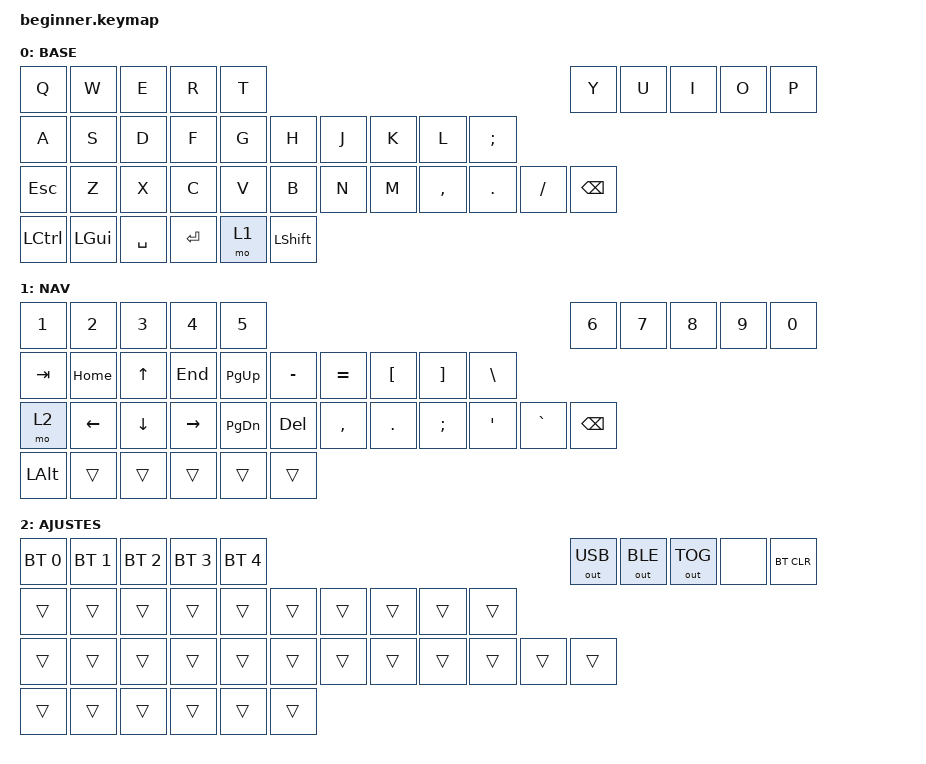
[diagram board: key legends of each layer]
// Beginner TOTEM: QWERTY, dedicated modifiers, three layers.
#include <behaviors.dtsi>
#include <dt-bindings/zmk/keys.h>
#include <dt-bindings/zmk/bt.h>
#include <dt-bindings/zmk/outputs.h>

/ {
    keymap {
        compatible = "zmk,keymap";
        base {
            label = "BASE";
            bindings = <
                &kp Q  &kp W  &kp E  &kp R  &kp T  &kp Y  &kp U  &kp I  &kp O  &kp P
                &kp A  &kp S  &kp D  &kp F  &kp G  &kp H  &kp J  &kp K  &kp L  &kp SEMI
                &kp ESC  &kp Z  &kp X  &kp C  &kp V  &kp B  &kp N  &kp M  &kp COMMA  &kp DOT  &kp SLASH  &kp BSPC
                &kp LCTRL  &kp LGUI  &kp SPACE  &kp ENTER  &mo 1  &kp LSHFT
            >;
        };
        navigation {
            label = "NAV";
            bindings = <
                &kp N1  &kp N2  &kp N3  &kp N4  &kp N5  &kp N6  &kp N7  &kp N8  &kp N9  &kp N0
                &kp TAB  &kp HOME  &kp UP  &kp END  &kp PG_UP  &kp MINUS  &kp EQUAL  &kp LBKT  &kp RBKT  &kp BSLH
                &mo 2  &kp LEFT  &kp DOWN  &kp RIGHT  &kp PG_DN  &kp DELETE  &kp COMMA  &kp DOT  &kp SEMI  &kp SQT  &kp GRAVE  &kp BSPC
                &kp LALT  &trans  &trans  &trans  &trans  &trans
            >;
        };
        adjust {
            label = "AJUSTES";
            bindings = <
                &bt BT_SEL 0  &bt BT_SEL 1  &bt BT_SEL 2  &bt BT_SEL 3  &bt BT_SEL 4  &out OUT_USB  &out OUT_BLE  &out OUT_TOG  &none  &bt BT_CLR
                &trans  &trans  &trans  &trans  &trans  &trans  &trans  &trans  &trans  &trans
                &trans  &trans  &trans  &trans  &trans  &trans  &trans  &trans  &trans  &trans  &trans  &trans
                &trans  &trans  &trans  &trans  &trans  &trans
            >;
        };
    };
};
